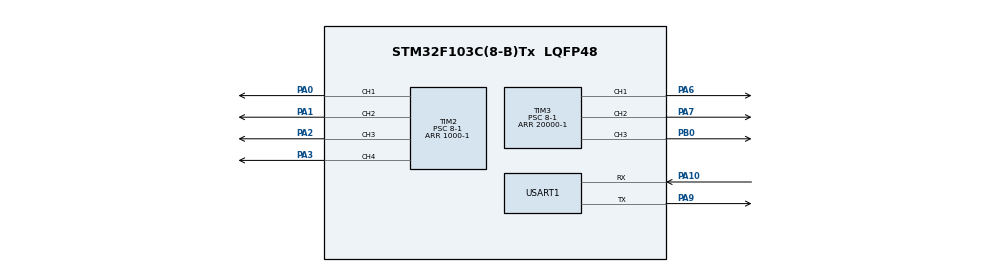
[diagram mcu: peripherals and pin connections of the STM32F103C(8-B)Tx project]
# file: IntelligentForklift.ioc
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Mcu.Family=STM32F1
Mcu.Name=STM32F103C(8-B)Tx
Mcu.Package=LQFP48
NVIC.PriorityGroup=NVIC_PRIORITYGROUP_4
NVIC.USART1_IRQn=true\:0\:0\:false\:false\:true\:true\:true\:true
PA0-WKUP.Signal=S_TIM2_CH1_ETR
PA1.Signal=S_TIM2_CH2
PA10.Mode=Asynchronous
PA10.Signal=USART1_RX
PA13.Mode=Serial_Wire
PA13.Signal=SYS_JTMS-SWDIO
PA14.Mode=Serial_Wire
PA14.Signal=SYS_JTCK-SWCLK
PA2.Signal=S_TIM2_CH3
PA3.Signal=S_TIM2_CH4
PA6.Signal=S_TIM3_CH1
PA7.Signal=S_TIM3_CH2
PA9.Mode=Asynchronous
PA9.Signal=USART1_TX
PB0.Signal=S_TIM3_CH3
ProjectManager.HeapSize=0x200
ProjectManager.StackSize=0x400
ProjectManager.TargetToolchain=CMake
RCC.APB1Freq_Value=8000000
RCC.APB2Freq_Value=8000000
SH.S_TIM2_CH1_ETR.0=TIM2_CH1,PWM Generation1 CH1
SH.S_TIM2_CH2.0=TIM2_CH2,PWM Generation2 CH2
SH.S_TIM2_CH3.0=TIM2_CH3,PWM Generation3 CH3
SH.S_TIM2_CH4.0=TIM2_CH4,PWM Generation4 CH4
SH.S_TIM3_CH1.0=TIM3_CH1,PWM Generation1 CH1
SH.S_TIM3_CH2.0=TIM3_CH2,PWM Generation2 CH2
SH.S_TIM3_CH3.0=TIM3_CH3,PWM Generation3 CH3
TIM2.Channel-PWM\ Generation1\ CH1=TIM_CHANNEL_1
TIM2.Channel-PWM\ Generation2\ CH2=TIM_CHANNEL_2
TIM2.Channel-PWM\ Generation3\ CH3=TIM_CHANNEL_3
TIM2.Channel-PWM\ Generation4\ CH4=TIM_CHANNEL_4
TIM2.Period=1000-1
TIM2.Prescaler=8-1
TIM3.Channel-PWM\ Generation1\ CH1=TIM_CHANNEL_1
TIM3.Channel-PWM\ Generation2\ CH2=TIM_CHANNEL_2
TIM3.Channel-PWM\ Generation3\ CH3=TIM_CHANNEL_3
TIM3.Period=20000-1
TIM3.Prescaler=8-1
USART1.VirtualMode=VM_ASYNC
VP_TIM2_VS_ClockSourceINT.Mode=Internal
VP_TIM3_VS_ClockSourceINT.Mode=Internal
board=custom

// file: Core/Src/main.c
/* USER CODE BEGIN Header */
/**
  ******************************************************************************
  * @file           : main.c
  * @brief          : Main program body
  ******************************************************************************
  * @attention
  *
  * Copyright (c) 2026 STMicroelectronics.
  * All rights reserved.
  *
  * This software is licensed under terms that can be found in the LICENSE file
  * in the root directory of this software component.
  * If no LICENSE file comes with this software, it is provided AS-IS.
  *
  ******************************************************************************
  */
/* USER CODE END Header */
#include "main.h"

TIM_HandleTypeDef htim2;
TIM_HandleTypeDef htim3;

UART_HandleTypeDef huart1;

/* USER CODE BEGIN PV */
uint8_t uart_rx;
uint8_t rx_buf[3];
uint8_t rx_index = 0;
volatile uint8_t cmd_ready = 0;
uint8_t receiving_command = 0;

uint8_t action_flag = 0;
char move_dir;
uint8_t move_speed;
char button_state;
int16_t  current_angle = 150;  // 舵机当前角度，初始120°

volatile int8_t servo_dir = 0;     // -1 向下，+1 向上，0 停止
uint32_t servo_tick = 0;           // 软定时

/* USER CODE END PV */

void SystemClock_Config(void);
static void MX_GPIO_Init(void);
static void MX_TIM2_Init(void);
static void MX_USART1_UART_Init(void);
static void MX_TIM3_Init(void);
/* USER CODE BEGIN PFP */
void HAL_UART_RxCpltCallback(UART_HandleTypeDef *huart)
{
  if (huart->Instance == USART1)
    {
      if (receiving_command == 0)
      {
        if(uart_rx == 'F' || uart_rx == 'B' || uart_rx == 'L' || uart_rx == 'R' ||
           uart_rx == 'U' || uart_rx == 'D' || uart_rx == 'O' || uart_rx == 'C')
        {
          rx_buf[0] = uart_rx;
          rx_index = 1;
          receiving_command = 1;
        }
      }
      else if (receiving_command == 1)
      {
        rx_buf[rx_index++] = uart_rx;
        if (rx_index >= 3)
        {
          rx_index = 0;
          cmd_ready = 1;
          receiving_command = 0;
        }
      }
      // 立刻重新打开 1 字节接收（非常关键）
      HAL_UART_Receive_IT(&huart1, &uart_rx, 1);
    }
}

/* USER CODE END PFP */

int main(void)
{

  /* MCU Configuration--------------------------------------------------------*/

  /* Reset of all peripherals, Initializes the Flash interface and the Systick. */
  HAL_Init();

  /* Configure the system clock */
  SystemClock_Config();

  /* Initialize all configured peripherals */
  MX_GPIO_Init();
  MX_TIM2_Init();
  MX_USART1_UART_Init();
  MX_TIM3_Init();
  /* USER CODE BEGIN 2 */

  // PWM 启动
  HAL_TIM_PWM_Start(&htim2, TIM_CHANNEL_1);
  __HAL_TIM_SET_COMPARE(&htim2, TIM_CHANNEL_1, 0);
  HAL_TIM_PWM_Start(&htim2, TIM_CHANNEL_2);
  __HAL_TIM_SET_COMPARE(&htim2, TIM_CHANNEL_2, 0);
  HAL_TIM_PWM_Start(&htim2, TIM_CHANNEL_3);
  __HAL_TIM_SET_COMPARE(&htim2, TIM_CHANNEL_3, 0);
  HAL_TIM_PWM_Start(&htim2, TIM_CHANNEL_4);
  __HAL_TIM_SET_COMPARE(&htim2, TIM_CHANNEL_4, 0);

  HAL_TIM_PWM_Start(&htim3, TIM_CHANNEL_1);
  __HAL_TIM_SET_COMPARE(&htim3, TIM_CHANNEL_1, 0);
  HAL_TIM_PWM_Start(&htim3, TIM_CHANNEL_2);
  __HAL_TIM_SET_COMPARE(&htim3, TIM_CHANNEL_2, 0);
  HAL_TIM_PWM_Start(&htim3, TIM_CHANNEL_3);
  __HAL_TIM_SET_COMPARE(&htim3, TIM_CHANNEL_3, 0);

  uint16_t initPulse = 500 + (current_angle * 2000 / 180);
  __HAL_TIM_SET_COMPARE(&htim3, TIM_CHANNEL_3, initPulse);//初始角度

  // 启动串口接收
  HAL_UART_Receive_IT(&huart1, rx_buf, 1);
  /* USER CODE END 2 */

  /* Infinite loop */
  /* USER CODE BEGIN WHILE */
  while (1)
  {
    if (cmd_ready)
    {
      cmd_ready = 0;
      move_dir    = rx_buf[0];
      move_speed  = rx_buf[1] - '0';
      button_state= rx_buf[2];

      uint16_t pwm = 0;
      pwm = move_speed * 100;
      switch (move_dir) {
      case 'F' :
        // 左轮前进
        if(button_state == 'P')
        {
          __HAL_TIM_SET_COMPARE(&htim2, TIM_CHANNEL_2, pwm);
        }
        if(button_state == 'R')
        {
          __HAL_TIM_SET_COMPARE(&htim2, TIM_CHANNEL_2, 0);
        }
      break;
      case 'B' :
        // 左轮后退
        if(button_state == 'P')
        {
          __HAL_TIM_SET_COMPARE(&htim2, TIM_CHANNEL_1, pwm);
        }
        if(button_state == 'R')
        {
          __HAL_TIM_SET_COMPARE(&htim2, TIM_CHANNEL_1, 0);
        }
        break;
      case 'L' :
        // 右轮前进
        if(button_state == 'P')
        {
          __HAL_TIM_SET_COMPARE(&htim2, TIM_CHANNEL_3, pwm);
        }
        if(button_state == 'R')
        {
          __HAL_TIM_SET_COMPARE(&htim2, TIM_CHANNEL_3, 0);
        }
        break;
      case 'R' :
        // 右轮后退
        if(button_state == 'P')
        {
          __HAL_TIM_SET_COMPARE(&htim2, TIM_CHANNEL_4, pwm);
        }
        if(button_state == 'R')
        {
          __HAL_TIM_SET_COMPARE(&htim2, TIM_CHANNEL_4, 0);
        }
        break;
      case 'U' :
        //大臂上升
        pwm = move_speed * 2000;
        if(button_state == 'P')
        {
          __HAL_TIM_SET_COMPARE(&htim3, TIM_CHANNEL_1, pwm);
        }
        if(button_state == 'R')
        {
          __HAL_TIM_SET_COMPARE(&htim3, TIM_CHANNEL_1, 0);
        }
        break;
      case 'D' :
        //大臂下降
        pwm = move_speed * 2000;
        if(button_state == 'P')
        {

          __HAL_TIM_SET_COMPARE(&htim3, TIM_CHANNEL_2, pwm);
        }
        if(button_state == 'R')
        {

          __HAL_TIM_SET_COMPARE(&htim3, TIM_CHANNEL_2, 0);
        }
        break;
      case 'O' :
        //铲斗上（逐步减小角度）
        if (button_state == 'P')
          servo_dir = +1;
        else
            servo_dir = 0;
        break;
      case 'C' :
        //铲斗下（逐步增加角度）
        if (button_state == 'P')
          servo_dir = -1;
        else
            servo_dir = 0;
        break;
      }
    }

    if (HAL_GetTick() - servo_tick >= 30)   // 每 30ms 走一步
    {
      servo_tick = HAL_GetTick();

      if (servo_dir != 0)
      {
        int step = move_speed * 2;   // 平滑速度（可调）

        current_angle += servo_dir * step;

        if (current_angle > 180) current_angle = 180;
        if (current_angle < 0)   current_angle = 0;

        uint16_t pulse = 500 + (current_angle * 2000 / 180);
        __HAL_TIM_SET_COMPARE(&htim3, TIM_CHANNEL_3, pulse);
      }
    }
    /* USER CODE END WHILE */

  }
}

void SystemClock_Config(void)
{
  RCC_OscInitTypeDef RCC_OscInitStruct = {0};
  RCC_ClkInitTypeDef RCC_ClkInitStruct = {0};

  /** Initializes the RCC Oscillators according to the specified parameters
  * in the RCC_OscInitTypeDef structure.
  */
  RCC_OscInitStruct.OscillatorType = RCC_OSCILLATORTYPE_HSI;
  RCC_OscInitStruct.HSIState = RCC_HSI_ON;
  RCC_OscInitStruct.HSICalibrationValue = RCC_HSICALIBRATION_DEFAULT;
  RCC_OscInitStruct.PLL.PLLState = RCC_PLL_NONE;
  if (HAL_RCC_OscConfig(&RCC_OscInitStruct) != HAL_OK)
  {
    Error_Handler();
  }

  /** Initializes the CPU, AHB and APB buses clocks
  */
  RCC_ClkInitStruct.ClockType = RCC_CLOCKTYPE_HCLK|RCC_CLOCKTYPE_SYSCLK
                              |RCC_CLOCKTYPE_PCLK1|RCC_CLOCKTYPE_PCLK2;
  RCC_ClkInitStruct.SYSCLKSource = RCC_SYSCLKSOURCE_HSI;
  RCC_ClkInitStruct.AHBCLKDivider = RCC_SYSCLK_DIV1;
  RCC_ClkInitStruct.APB1CLKDivider = RCC_HCLK_DIV1;
  RCC_ClkInitStruct.APB2CLKDivider = RCC_HCLK_DIV1;

  if (HAL_RCC_ClockConfig(&RCC_ClkInitStruct, FLASH_LATENCY_0) != HAL_OK)
  {
    Error_Handler();
  }
}

static void MX_TIM2_Init(void)
{

  TIM_ClockConfigTypeDef sClockSourceConfig = {0};
  TIM_MasterConfigTypeDef sMasterConfig = {0};
  TIM_OC_InitTypeDef sConfigOC = {0};

  htim2.Instance = TIM2;
  htim2.Init.Prescaler = 8-1;
  htim2.Init.CounterMode = TIM_COUNTERMODE_UP;
  htim2.Init.Period = 1000-1;
  htim2.Init.ClockDivision = TIM_CLOCKDIVISION_DIV1;
  htim2.Init.AutoReloadPreload = TIM_AUTORELOAD_PRELOAD_DISABLE;
  if (HAL_TIM_Base_Init(&htim2) != HAL_OK)
  {
    Error_Handler();
  }
  sClockSourceConfig.ClockSource = TIM_CLOCKSOURCE_INTERNAL;
  if (HAL_TIM_ConfigClockSource(&htim2, &sClockSourceConfig) != HAL_OK)
  {
    Error_Handler();
  }
  if (HAL_TIM_PWM_Init(&htim2) != HAL_OK)
  {
    Error_Handler();
  }
  sMasterConfig.MasterOutputTrigger = TIM_TRGO_RESET;
  sMasterConfig.MasterSlaveMode = TIM_MASTERSLAVEMODE_DISABLE;
  if (HAL_TIMEx_MasterConfigSynchronization(&htim2, &sMasterConfig) != HAL_OK)
  {
    Error_Handler();
  }
  sConfigOC.OCMode = TIM_OCMODE_PWM1;
  sConfigOC.Pulse = 0;
  sConfigOC.OCPolarity = TIM_OCPOLARITY_HIGH;
  sConfigOC.OCFastMode = TIM_OCFAST_DISABLE;
  if (HAL_TIM_PWM_ConfigChannel(&htim2, &sConfigOC, TIM_CHANNEL_1) != HAL_OK)
  {
    Error_Handler();
  }
  if (HAL_TIM_PWM_ConfigChannel(&htim2, &sConfigOC, TIM_CHANNEL_2) != HAL_OK)
  {
    Error_Handler();
  }
  if (HAL_TIM_PWM_ConfigChannel(&htim2, &sConfigOC, TIM_CHANNEL_3) != HAL_OK)
  {
    Error_Handler();
  }
  if (HAL_TIM_PWM_ConfigChannel(&htim2, &sConfigOC, TIM_CHANNEL_4) != HAL_OK)
  {
    Error_Handler();
  }
  HAL_TIM_MspPostInit(&htim2);

}

static void MX_TIM3_Init(void)
{

  TIM_ClockConfigTypeDef sClockSourceConfig = {0};
  TIM_MasterConfigTypeDef sMasterConfig = {0};
  TIM_OC_InitTypeDef sConfigOC = {0};

  htim3.Instance = TIM3;
  htim3.Init.Prescaler = 8-1;
  htim3.Init.CounterMode = TIM_COUNTERMODE_UP;
  htim3.Init.Period = 20000-1;
  htim3.Init.ClockDivision = TIM_CLOCKDIVISION_DIV1;
  htim3.Init.AutoReloadPreload = TIM_AUTORELOAD_PRELOAD_DISABLE;
  if (HAL_TIM_Base_Init(&htim3) != HAL_OK)
  {
    Error_Handler();
  }
  sClockSourceConfig.ClockSource = TIM_CLOCKSOURCE_INTERNAL;
  if (HAL_TIM_ConfigClockSource(&htim3, &sClockSourceConfig) != HAL_OK)
  {
    Error_Handler();
  }
  if (HAL_TIM_PWM_Init(&htim3) != HAL_OK)
  {
    Error_Handler();
  }
  sMasterConfig.MasterOutputTrigger = TIM_TRGO_RESET;
  sMasterConfig.MasterSlaveMode = TIM_MASTERSLAVEMODE_DISABLE;
  if (HAL_TIMEx_MasterConfigSynchronization(&htim3, &sMasterConfig) != HAL_OK)
  {
    Error_Handler();
  }
  sConfigOC.OCMode = TIM_OCMODE_PWM1;
  sConfigOC.Pulse = 0;
  sConfigOC.OCPolarity = TIM_OCPOLARITY_HIGH;
  sConfigOC.OCFastMode = TIM_OCFAST_DISABLE;
  if (HAL_TIM_PWM_ConfigChannel(&htim3, &sConfigOC, TIM_CHANNEL_1) != HAL_OK)
  {
    Error_Handler();
  }
  if (HAL_TIM_PWM_ConfigChannel(&htim3, &sConfigOC, TIM_CHANNEL_2) != HAL_OK)
  {
    Error_Handler();
  }
  if (HAL_TIM_PWM_ConfigChannel(&htim3, &sConfigOC, TIM_CHANNEL_3) != HAL_OK)
  {
    Error_Handler();
  }
  HAL_TIM_MspPostInit(&htim3);

}

static void MX_USART1_UART_Init(void)
{

  huart1.Instance = USART1;
  huart1.Init.BaudRate = 115200;
  huart1.Init.WordLength = UART_WORDLENGTH_8B;
  huart1.Init.StopBits = UART_STOPBITS_1;
  huart1.Init.Parity = UART_PARITY_NONE;
  huart1.Init.Mode = UART_MODE_TX_RX;
  huart1.Init.HwFlowCtl = UART_HWCONTROL_NONE;
  huart1.Init.OverSampling = UART_OVERSAMPLING_16;
  if (HAL_UART_Init(&huart1) != HAL_OK)
  {
    Error_Handler();
  }

}

static void MX_GPIO_Init(void)
{

  /* GPIO Ports Clock Enable */
  __HAL_RCC_GPIOA_CLK_ENABLE();
  __HAL_RCC_GPIOB_CLK_ENABLE();

}

void Error_Handler(void)
{
  __disable_irq();
  while (1)
  {
  }
}
